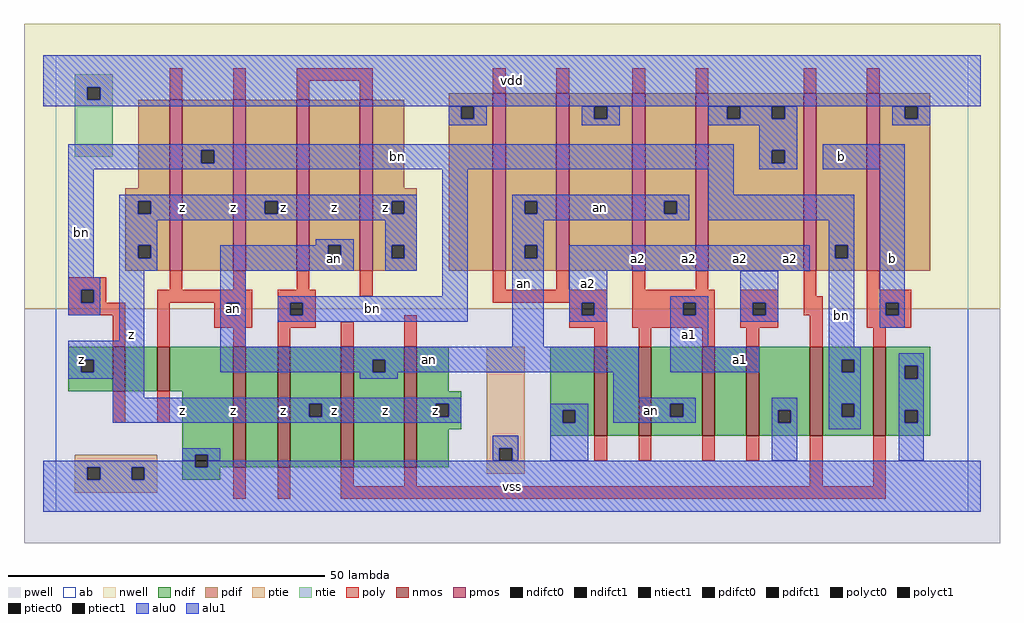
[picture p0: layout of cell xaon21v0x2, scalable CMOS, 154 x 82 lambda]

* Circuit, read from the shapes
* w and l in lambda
.subckt xaon21v0x2 a1 a2 an b bn vdd vss z
M1 n1 bn z vss nfet w=7 l=2
M2 vss an n1 vss nfet w=7 l=2
M3 n2 an vss vss nfet w=19 l=2
M4 z bn n2 vss nfet w=19 l=2
M5 an b z vss nfet w=19 l=2 m=2
M6 n3 a2 vss vss nfet w=14 l=2
M7 an a1 n3 vss nfet w=14 l=2
M8 n4 a1 an vss nfet w=14 l=2
M9 vss a2 n4 vss nfet w=14 l=2
M10 bn b vss vss nfet w=14 l=2 m=2
M11 bn an z vdd pfet w=27 l=2 m=2
M12 an bn z vdd pfet w=27 l=2 m=2
M13 an a2 vdd vdd pfet w=28 l=2 m=2
M14 an a1 vdd vdd pfet w=28 l=2 m=2
M15 bn b vdd vdd pfet w=28 l=2 m=2
.ends

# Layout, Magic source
magic
tech scmos
<< ab >>
rect 0 0 144 72
<< nwell >>
rect -5 32 149 77
<< pwell >>
rect -5 -5 149 32
<< poly >>
rect 18 65 20 70
rect 28 65 30 70
rect 38 68 50 70
rect 38 65 40 68
rect 48 65 50 68
rect 69 66 71 70
rect 79 66 81 70
rect 91 66 93 70
rect 101 66 103 70
rect 118 66 120 70
rect 128 66 130 70
rect 2 35 8 37
rect 18 35 20 38
rect 28 35 30 38
rect 38 35 40 38
rect 2 33 4 35
rect 6 33 8 35
rect 16 33 31 35
rect 2 31 11 33
rect 9 26 11 31
rect 16 26 18 33
rect 25 31 27 33
rect 29 31 31 33
rect 25 29 31 31
rect 35 33 41 35
rect 48 34 50 38
rect 69 35 71 38
rect 79 35 81 38
rect 91 35 93 38
rect 101 35 103 38
rect 69 33 87 35
rect 35 31 37 33
rect 39 31 41 33
rect 81 31 83 33
rect 85 31 87 33
rect 35 29 41 31
rect 28 26 30 29
rect 35 26 37 29
rect 45 26 47 30
rect 55 26 57 31
rect 81 29 87 31
rect 91 33 104 35
rect 91 31 99 33
rect 101 31 104 33
rect 91 29 104 31
rect 108 33 114 35
rect 108 31 110 33
rect 112 31 114 33
rect 118 34 120 38
rect 128 35 130 38
rect 118 31 121 34
rect 108 29 114 31
rect 85 26 87 29
rect 92 26 94 29
rect 102 26 104 29
rect 109 26 111 29
rect 119 26 121 31
rect 128 33 135 35
rect 128 31 131 33
rect 133 31 135 33
rect 128 29 135 31
rect 129 26 131 29
rect 9 14 11 19
rect 16 14 18 19
rect 85 8 87 12
rect 92 8 94 12
rect 102 8 104 12
rect 109 8 111 12
rect 28 2 30 7
rect 35 2 37 7
rect 45 4 47 7
rect 55 4 57 7
rect 119 4 121 12
rect 129 4 131 12
rect 45 2 131 4
<< ndif >>
rect 2 24 9 26
rect 2 22 4 24
rect 6 22 9 24
rect 2 19 9 22
rect 11 19 16 26
rect 18 19 28 26
rect 20 9 28 19
rect 20 7 22 9
rect 24 7 28 9
rect 30 7 35 26
rect 37 17 45 26
rect 37 15 40 17
rect 42 15 45 17
rect 37 7 45 15
rect 47 24 55 26
rect 47 22 50 24
rect 52 22 55 24
rect 47 7 55 22
rect 57 19 62 26
rect 57 17 64 19
rect 57 15 60 17
rect 62 15 64 17
rect 57 13 64 15
rect 57 7 62 13
rect 78 16 85 26
rect 78 14 80 16
rect 82 14 85 16
rect 78 12 85 14
rect 87 12 92 26
rect 94 17 102 26
rect 94 15 97 17
rect 99 15 102 17
rect 94 12 102 15
rect 104 12 109 26
rect 111 16 119 26
rect 111 14 114 16
rect 116 14 119 16
rect 111 12 119 14
rect 121 24 129 26
rect 121 22 124 24
rect 126 22 129 24
rect 121 17 129 22
rect 121 15 124 17
rect 126 15 129 17
rect 121 12 129 15
rect 131 23 138 26
rect 131 21 134 23
rect 136 21 138 23
rect 131 16 138 21
rect 131 14 134 16
rect 136 14 138 16
rect 131 12 138 14
rect 20 5 26 7
<< pdif >>
rect 13 51 18 65
rect 11 49 18 51
rect 11 47 13 49
rect 15 47 18 49
rect 11 42 18 47
rect 11 40 13 42
rect 15 40 18 42
rect 11 38 18 40
rect 20 57 28 65
rect 20 55 23 57
rect 25 55 28 57
rect 20 38 28 55
rect 30 49 38 65
rect 30 47 33 49
rect 35 47 38 49
rect 30 38 38 47
rect 40 42 48 65
rect 40 40 43 42
rect 45 40 48 42
rect 40 38 48 40
rect 50 51 55 65
rect 62 64 69 66
rect 62 62 64 64
rect 66 62 69 64
rect 50 49 57 51
rect 50 47 53 49
rect 55 47 57 49
rect 50 42 57 47
rect 50 40 53 42
rect 55 40 57 42
rect 50 38 57 40
rect 62 38 69 62
rect 71 49 79 66
rect 71 47 74 49
rect 76 47 79 49
rect 71 42 79 47
rect 71 40 74 42
rect 76 40 79 42
rect 71 38 79 40
rect 81 64 91 66
rect 81 62 85 64
rect 87 62 91 64
rect 81 38 91 62
rect 93 49 101 66
rect 93 47 96 49
rect 98 47 101 49
rect 93 38 101 47
rect 103 64 118 66
rect 103 62 106 64
rect 108 62 113 64
rect 115 62 118 64
rect 103 57 118 62
rect 103 55 113 57
rect 115 55 118 57
rect 103 38 118 55
rect 120 42 128 66
rect 120 40 123 42
rect 125 40 128 42
rect 120 38 128 40
rect 130 64 138 66
rect 130 62 134 64
rect 136 62 138 64
rect 130 38 138 62
<< alu1 >>
rect -2 67 146 72
rect -2 65 5 67
rect 7 65 146 67
rect -2 64 146 65
rect 121 54 134 58
rect 10 49 57 50
rect 10 47 13 49
rect 15 47 33 49
rect 35 47 53 49
rect 55 47 57 49
rect 10 46 57 47
rect 10 42 16 46
rect 10 40 13 42
rect 15 40 16 42
rect 10 38 16 40
rect 52 42 57 46
rect 52 40 53 42
rect 55 40 57 42
rect 52 38 57 40
rect 10 27 14 38
rect 2 24 14 27
rect 2 22 4 24
rect 6 22 14 24
rect 81 38 119 42
rect 81 33 87 38
rect 81 31 83 33
rect 85 31 87 33
rect 81 30 87 31
rect 97 33 103 34
rect 97 31 99 33
rect 101 31 103 33
rect 97 26 103 31
rect 130 33 134 54
rect 130 31 131 33
rect 133 31 134 33
rect 130 29 134 31
rect 97 22 111 26
rect 2 21 14 22
rect 9 18 14 21
rect 9 17 64 18
rect 9 15 40 17
rect 42 15 60 17
rect 62 15 64 17
rect 9 14 64 15
rect -2 7 22 8
rect 24 7 146 8
rect -2 5 5 7
rect 7 5 12 7
rect 14 5 146 7
rect -2 0 146 5
<< ptie >>
rect 3 7 16 9
rect 3 5 5 7
rect 7 5 12 7
rect 14 5 16 7
rect 68 10 74 26
rect 68 8 70 10
rect 72 8 74 10
rect 3 3 16 5
rect 68 6 74 8
<< ntie >>
rect 3 67 9 69
rect 3 65 5 67
rect 7 65 9 67
rect 3 56 9 65
<< nmos >>
rect 9 19 11 26
rect 16 19 18 26
rect 28 7 30 26
rect 35 7 37 26
rect 45 7 47 26
rect 55 7 57 26
rect 85 12 87 26
rect 92 12 94 26
rect 102 12 104 26
rect 109 12 111 26
rect 119 12 121 26
rect 129 12 131 26
<< pmos >>
rect 18 38 20 65
rect 28 38 30 65
rect 38 38 40 65
rect 48 38 50 65
rect 69 38 71 66
rect 79 38 81 66
rect 91 38 93 66
rect 101 38 103 66
rect 118 38 120 66
rect 128 38 130 66
<< polyct0 >>
rect 4 33 6 35
rect 27 31 29 33
rect 37 31 39 33
rect 110 31 112 33
<< polyct1 >>
rect 83 31 85 33
rect 99 31 101 33
rect 131 31 133 33
<< ndifct0 >>
rect 22 8 24 9
rect 50 22 52 24
rect 80 14 82 16
rect 97 15 99 17
rect 114 14 116 16
rect 124 22 126 24
rect 124 15 126 17
rect 134 21 136 23
rect 134 14 136 16
<< ndifct1 >>
rect 4 22 6 24
rect 22 7 24 8
rect 40 15 42 17
rect 60 15 62 17
<< ntiect1 >>
rect 5 65 7 67
<< ptiect0 >>
rect 70 8 72 10
<< ptiect1 >>
rect 5 5 7 7
rect 12 5 14 7
<< pdifct0 >>
rect 23 55 25 57
rect 43 40 45 42
rect 64 62 66 64
rect 74 47 76 49
rect 74 40 76 42
rect 85 62 87 64
rect 96 47 98 49
rect 106 62 108 64
rect 113 62 115 64
rect 113 55 115 57
rect 123 40 125 42
rect 134 62 136 64
<< pdifct1 >>
rect 13 47 15 49
rect 13 40 15 42
rect 33 47 35 49
rect 53 47 55 49
rect 53 40 55 42
<< alu0 >>
rect 62 62 64 64
rect 66 62 68 64
rect 62 61 68 62
rect 83 62 85 64
rect 87 62 89 64
rect 83 61 89 62
rect 103 62 106 64
rect 108 62 113 64
rect 115 62 117 64
rect 103 61 117 62
rect 132 62 134 64
rect 136 62 138 64
rect 132 61 138 62
rect 2 57 107 58
rect 2 55 23 57
rect 25 55 107 57
rect 2 54 107 55
rect 111 57 117 61
rect 111 55 113 57
rect 115 55 117 57
rect 111 54 117 55
rect 2 37 6 54
rect 41 42 47 43
rect 26 40 43 42
rect 45 40 47 42
rect 26 38 47 40
rect 2 35 7 37
rect 2 33 4 35
rect 6 33 7 35
rect 2 31 7 33
rect 26 33 30 38
rect 61 34 65 54
rect 103 50 107 54
rect 26 31 27 33
rect 29 31 30 33
rect 26 26 30 31
rect 35 33 65 34
rect 35 31 37 33
rect 39 31 65 33
rect 35 30 65 31
rect 72 49 100 50
rect 72 47 74 49
rect 76 47 96 49
rect 98 47 100 49
rect 72 46 100 47
rect 103 46 126 50
rect 72 42 77 46
rect 122 42 126 46
rect 72 40 74 42
rect 76 40 77 42
rect 72 26 77 40
rect 122 40 123 42
rect 125 40 126 42
rect 108 33 114 38
rect 108 31 110 33
rect 112 31 114 33
rect 108 30 114 31
rect 122 26 126 40
rect 26 24 92 26
rect 26 22 50 24
rect 52 22 92 24
rect 122 24 127 26
rect 122 22 124 24
rect 126 22 127 24
rect 48 21 54 22
rect 88 18 92 22
rect 88 17 101 18
rect 78 16 84 17
rect 78 14 80 16
rect 82 14 84 16
rect 88 15 97 17
rect 99 15 101 17
rect 88 14 101 15
rect 113 16 117 18
rect 113 14 114 16
rect 116 14 117 16
rect 69 10 73 12
rect 20 9 26 10
rect 20 8 22 9
rect 24 8 26 9
rect 69 8 70 10
rect 72 8 73 10
rect 78 8 84 14
rect 113 8 117 14
rect 122 17 127 22
rect 122 15 124 17
rect 126 15 127 17
rect 122 13 127 15
rect 133 23 137 25
rect 133 21 134 23
rect 136 21 137 23
rect 133 16 137 21
rect 133 14 134 16
rect 136 14 137 16
rect 133 8 137 14
<< labels >>
rlabel polyct0 28 32 28 32 6 an
rlabel alu0 4 44 4 44 6 bn
rlabel alu0 50 32 50 32 6 bn
rlabel alu0 44 40 44 40 6 an
rlabel alu0 94 16 94 16 6 an
rlabel alu0 59 24 59 24 6 an
rlabel alu0 74 36 74 36 6 an
rlabel alu0 86 48 86 48 6 an
rlabel alu0 124 31 124 31 6 bn
rlabel alu0 54 56 54 56 6 bn
rlabel alu1 20 16 20 16 6 z
rlabel alu1 28 16 28 16 6 z
rlabel alu1 12 28 12 28 6 z
rlabel alu1 4 24 4 24 6 z
rlabel alu1 28 48 28 48 6 z
rlabel alu1 20 48 20 48 6 z
rlabel alu1 52 16 52 16 6 z
rlabel alu1 44 16 44 16 6 z
rlabel alu1 60 16 60 16 6 z
rlabel alu1 36 16 36 16 6 z
rlabel alu1 36 48 36 48 6 z
rlabel alu1 52 48 52 48 6 z
rlabel alu1 44 48 44 48 6 z
rlabel alu1 72 4 72 4 6 vss
rlabel alu1 100 28 100 28 6 a1
rlabel alu1 84 36 84 36 6 a2
rlabel alu1 100 40 100 40 6 a2
rlabel alu1 92 40 92 40 6 a2
rlabel alu1 72 68 72 68 6 vdd
rlabel alu1 108 24 108 24 6 a1
rlabel alu1 116 40 116 40 6 a2
rlabel alu1 132 40 132 40 6 b
rlabel alu1 108 40 108 40 6 a2
rlabel alu1 124 56 124 56 6 b
<< end >>
